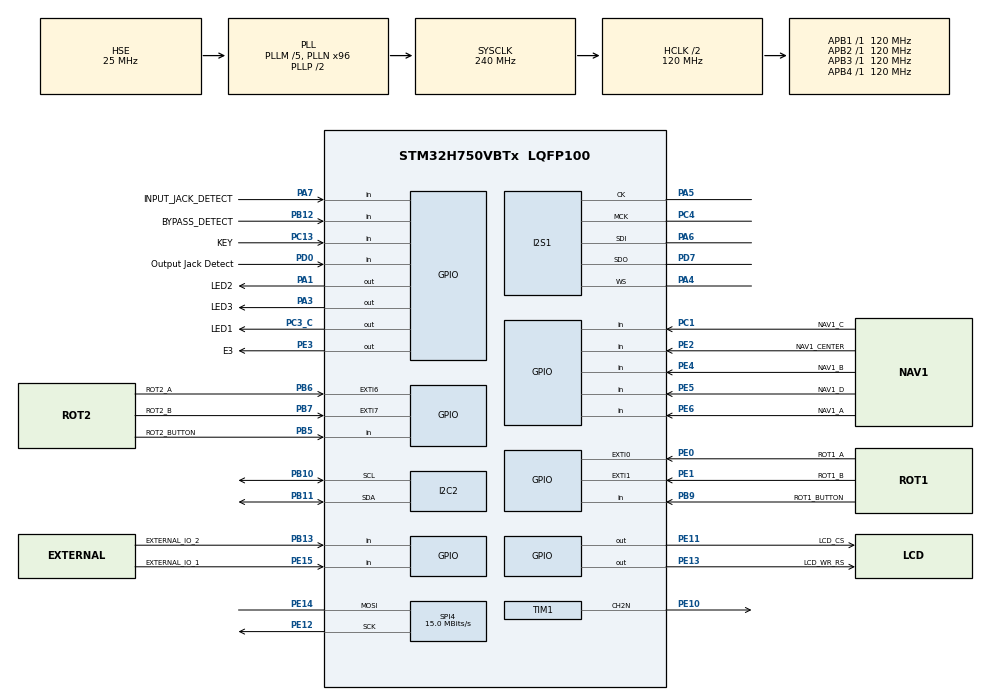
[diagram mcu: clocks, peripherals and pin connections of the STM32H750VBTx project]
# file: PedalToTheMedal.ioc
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Dma.Request0=SPI1_RX
Dma.Request1=SPI1_TX
Dma.SPI1_RX.0.Direction=DMA_PERIPH_TO_MEMORY
Dma.SPI1_RX.0.EventEnable=DISABLE
Dma.SPI1_RX.0.FIFOMode=DMA_FIFOMODE_DISABLE
Dma.SPI1_RX.0.Instance=DMA1_Stream0
Dma.SPI1_RX.0.MemDataAlignment=DMA_MDATAALIGN_HALFWORD
Dma.SPI1_RX.0.MemInc=DMA_MINC_ENABLE
Dma.SPI1_RX.0.Mode=DMA_CIRCULAR
Dma.SPI1_RX.0.PeriphDataAlignment=DMA_PDATAALIGN_HALFWORD
Dma.SPI1_RX.0.PeriphInc=DMA_PINC_DISABLE
Dma.SPI1_RX.0.Polarity=HAL_DMAMUX_REQ_GEN_RISING
Dma.SPI1_RX.0.Priority=DMA_PRIORITY_HIGH
Dma.SPI1_RX.0.RequestNumber=1
Dma.SPI1_RX.0.SignalID=NONE
Dma.SPI1_RX.0.SyncEnable=DISABLE
Dma.SPI1_RX.0.SyncPolarity=HAL_DMAMUX_SYNC_NO_EVENT
Dma.SPI1_RX.0.SyncRequestNumber=1
Dma.SPI1_RX.0.SyncSignalID=NONE
Dma.SPI1_TX.1.Direction=DMA_MEMORY_TO_PERIPH
Dma.SPI1_TX.1.EventEnable=DISABLE
Dma.SPI1_TX.1.FIFOMode=DMA_FIFOMODE_DISABLE
Dma.SPI1_TX.1.Instance=DMA1_Stream1
Dma.SPI1_TX.1.MemDataAlignment=DMA_MDATAALIGN_HALFWORD
Dma.SPI1_TX.1.MemInc=DMA_MINC_ENABLE
Dma.SPI1_TX.1.Mode=DMA_CIRCULAR
Dma.SPI1_TX.1.PeriphDataAlignment=DMA_PDATAALIGN_HALFWORD
Dma.SPI1_TX.1.PeriphInc=DMA_PINC_DISABLE
Dma.SPI1_TX.1.Polarity=HAL_DMAMUX_REQ_GEN_RISING
Dma.SPI1_TX.1.Priority=DMA_PRIORITY_HIGH
Dma.SPI1_TX.1.RequestNumber=1
Dma.SPI1_TX.1.SignalID=NONE
Dma.SPI1_TX.1.SyncEnable=DISABLE
Dma.SPI1_TX.1.SyncPolarity=HAL_DMAMUX_SYNC_NO_EVENT
Dma.SPI1_TX.1.SyncRequestNumber=1
Dma.SPI1_TX.1.SyncSignalID=NONE
I2C2.Timing=0x307075B1
I2S1.AudioFreq=I2S_AUDIOFREQ_44K
I2S1.ErrorAudioFreq=5.68 %
I2S1.Instance=SPI$Index
I2S1.RealAudioFreq=46.502 KHz
Mcu.Family=STM32H7
Mcu.Name=STM32H750VBTx
Mcu.Package=LQFP100
NVIC.DMA1_Stream0_IRQn=true\:0\:0\:false\:false\:true\:false\:true
NVIC.DMA1_Stream1_IRQn=true\:0\:0\:false\:false\:true\:false\:true
NVIC.EXTI0_IRQn=true\:0\:0\:false\:false\:true\:true\:true
NVIC.EXTI1_IRQn=true\:0\:0\:false\:false\:true\:true\:true
NVIC.EXTI9_5_IRQn=true\:0\:0\:false\:false\:true\:true\:true
NVIC.PriorityGroup=NVIC_PRIORITYGROUP_4
NVIC.SPI1_IRQn=true\:0\:0\:false\:false\:true\:true\:true
PA1.GPIO_Label=LED2
PA1.Signal=GPIO_Output
PA13\ (JTMS/SWDIO).Mode=Serial_Wire
PA13\ (JTMS/SWDIO).Signal=DEBUG_JTMS-SWDIO
PA14\ (JTCK/SWCLK).Mode=Serial_Wire
PA14\ (JTCK/SWCLK).Signal=DEBUG_JTCK-SWCLK
PA3.GPIO_Label=LED3
PA3.Signal=GPIO_Output
PA4.Mode=Full_Duplex_Master
PA4.Signal=I2S1_WS
PA5.Mode=Full_Duplex_Master
PA5.Signal=I2S1_CK
PA6.Mode=Full_Duplex_Master
PA6.Signal=I2S1_SDI
PA7.GPIO_Label=INPUT_JACK_DETECT
PA7.Signal=GPIO_Input
PB10.Mode=I2C
PB10.Signal=I2C2_SCL
PB11.Mode=I2C
PB11.Signal=I2C2_SDA
PB12.GPIO_Label=BYPASS_DETECT
PB12.GPIO_PuPd=GPIO_PULLDOWN
PB12.Signal=GPIO_Input
PB13.GPIO_Label=EXTERNAL_IO_2
PB13.GPIO_PuPd=GPIO_PULLUP
PB13.Signal=GPIO_Input
PB5.GPIO_Label=ROT2_BUTTON
PB5.Signal=GPIO_Input
PB6.GPIO_Label=ROT2_A
PB6.GPIO_ModeDefaultEXTI=GPIO_MODE_IT_FALLING
PB6.GPIO_PuPd=GPIO_PULLUP
PB6.Signal=GPXTI6
PB7.GPIO_Label=ROT2_B
PB7.GPIO_ModeDefaultEXTI=GPIO_MODE_IT_FALLING
PB7.GPIO_PuPd=GPIO_PULLUP
PB7.Signal=GPXTI7
PB9.GPIO_Label=ROT1_BUTTON
PB9.Signal=GPIO_Input
PC1.GPIO_Label=NAV1_C
PC1.GPIO_PuPd=GPIO_PULLUP
PC1.Signal=GPIO_Input
PC13.GPIO_Label=KEY
PC13.GPIO_PuPd=GPIO_PULLDOWN
PC13.Signal=GPIO_Input
PC14-OSC32_IN\ (OSC32_IN).Mode=LSE-External-Oscillator
PC14-OSC32_IN\ (OSC32_IN).Signal=RCC_OSC32_IN
PC15-OSC32_OUT\ (OSC32_OUT).Mode=LSE-External-Oscillator
PC15-OSC32_OUT\ (OSC32_OUT).Signal=RCC_OSC32_OUT
PC3_C.GPIO_Label=LED1
PC3_C.Signal=GPIO_Output
PC4.Mode=Master_Clock_Activated
PC4.Signal=I2S1_MCK
PD0.GPIO_Label=Output Jack Detect
PD0.GPIO_PuPd=GPIO_PULLUP
PD0.Signal=GPIO_Input
PD7.Mode=Full_Duplex_Master
PD7.Signal=I2S1_SDO
PE0.GPIO_Label=ROT1_A
PE0.GPIO_ModeDefaultEXTI=GPIO_MODE_IT_FALLING
PE0.GPIO_PuPd=GPIO_PULLUP
PE0.Signal=GPXTI0
PE1.GPIO_Label=ROT1_B
PE1.GPIO_ModeDefaultEXTI=GPIO_MODE_IT_FALLING
PE1.GPIO_PuPd=GPIO_PULLUP
PE1.Signal=GPXTI1
PE10.Mode=PWM Generation2 CH2N
PE10.Signal=TIM1_CH2N
PE11.GPIO_Label=LCD_CS
PE11.GPIO_Speed=GPIO_SPEED_FREQ_VERY_HIGH
PE11.PinState=GPIO_PIN_SET
PE11.Signal=GPIO_Output
PE12.GPIO_Speed=GPIO_SPEED_FREQ_HIGH
PE12.Mode=Simplex_Bidirectional_Master
PE12.Signal=SPI4_SCK
PE13.GPIO_Label=LCD_WR_RS
PE13.GPIO_Speed=GPIO_SPEED_FREQ_VERY_HIGH
PE13.PinState=GPIO_PIN_SET
PE13.Signal=GPIO_Output
PE14.GPIO_Speed=GPIO_SPEED_FREQ_HIGH
PE14.Mode=Simplex_Bidirectional_Master
PE14.Signal=SPI4_MOSI
PE15.GPIO_Label=EXTERNAL_IO_1
PE15.GPIO_PuPd=GPIO_PULLUP
PE15.Signal=GPIO_Input
PE2.GPIO_Label=NAV1_CENTER
PE2.Signal=GPIO_Input
PE3.GPIO_Label=E3
PE3.PinState=GPIO_PIN_RESET
PE3.Signal=GPIO_Output
PE4.GPIO_Label=NAV1_B
PE4.GPIO_PuPd=GPIO_PULLUP
PE4.Signal=GPIO_Input
PE5.GPIO_Label=NAV1_D
PE5.GPIO_PuPd=GPIO_PULLUP
PE5.Signal=GPIO_Input
PE6.GPIO_Label=NAV1_A
PE6.GPIO_PuPd=GPIO_PULLUP
PE6.Signal=GPIO_Input
PH0-OSC_IN\ (PH0).Mode=HSE-External-Oscillator
PH0-OSC_IN\ (PH0).Signal=RCC_OSC_IN
PH1-OSC_OUT\ (PH1).Mode=HSE-External-Oscillator
PH1-OSC_OUT\ (PH1).Signal=RCC_OSC_OUT
ProjectManager.HeapSize=0x200
ProjectManager.StackSize=0x400
ProjectManager.TargetToolchain=STM32CubeIDE
RCC.ADCFreq_Value=83333333.33333333
RCC.APB1Freq_Value=120000000
RCC.APB2Freq_Value=120000000
RCC.APB3Freq_Value=120000000
RCC.APB4Freq_Value=120000000
RCC.CortexFreq_Value=240000000
RCC.DIVM1=5
RCC.DIVM2=6
RCC.DIVN1=96
RCC.DIVN2=40
RCC.DIVQ2=1
RCC.HCLKFreq_Value=120000000
RCC.HPRE=RCC_HCLK_DIV2
RCC.HSE_VALUE=25000000
RCC.PLL2FRACN=0
RCC.PLL3FRACN=0
RCC.PLLFRACN=0
RCC.PLLSourceVirtual=RCC_PLLSOURCE_HSE
RCC.PWR_Regulator_Voltage_Scale=PWR_REGULATOR_VOLTAGE_SCALE0
RCC.RTCClockSelection=RCC_RTCCLKSOURCE_LSE
RCC.SPI123CLockSelection=RCC_SPI123CLKSOURCE_PLL2
RCC.SYSCLKFreq_VALUE=240000000
RCC.SYSCLKSource=RCC_SYSCLKSOURCE_PLLCLK
RCC.USBFreq_Value=240000000
RTC.Hours=12
RTC.Month=RTC_MONTH_JUNE
RTC.Year=20
SPI4.BaudRatePrescaler=SPI_BAUDRATEPRESCALER_8
SPI4.CalculateBaudRate=15.0 MBits/s
SPI4.DataSize=SPI_DATASIZE_8BIT
SPI4.Direction=SPI_DIRECTION_1LINE
SPI4.Mode=SPI_MODE_MASTER
SPI4.VirtualType=VM_MASTER
TIM1.Channel-PWM\ Generation2\ CH2N=TIM_CHANNEL_2
TIM1.OCNPolarity_2=TIM_OCNPOLARITY_LOW
TIM1.Period=1000-1
TIM1.Prescaler=12-1
VP_RTC_VS_RTC_Activate.Mode=RTC_Enabled
VP_RTC_VS_RTC_Calendar.Mode=RTC_Calendar
board=custom

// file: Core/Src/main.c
/* USER CODE BEGIN Header */
/**
  ******************************************************************************
  * @file           : main.c
  * @brief          : Main program body
  ******************************************************************************
  * @attention
  *
  * <h2><center>&copy; Copyright (c) 2020 STMicroelectronics.
  * All rights reserved.</center></h2>
  *
  * This software component is licensed by ST under BSD 3-Clause license,
  * the "License"; You may not use this file except in compliance with the
  * License. You may obtain a copy of the License at:
  *                        opensource.org/licenses/BSD-3-Clause
  *
  ******************************************************************************
  */
/* USER CODE END Header */
#include "main.h"
#include "dma.h"
#include "i2c.h"
#include "i2s.h"
#include "rtc.h"
#include "spi.h"
#include "tim.h"
#include "gpio.h"
#include "navswitch.h"

/* USER CODE BEGIN Includes */
#include "lcd.h"
#include "codec.h"
#include "applyEffects.h"
#include "stm32h7xx_it.h"

/* USER CODE END Includes */

/* USER CODE BEGIN PV */

int16_t inBuf[4];
int16_t outBuf[4];

effects_t curEffect;

volatile int lasta1;
volatile int lastb1;
volatile int lasta2;
volatile int lastb2;
volatile int position1 = 0;
volatile int position2 = 0;
effects_t effect_selection = 0;
volatile int param_select = 0;
//float secdelay;
//float cleanGain;
//float delayGain;
//float usFactor;
//int bitCount;
//float tremolo_rate;
//float tremolo_depth;

/* USER CODE END PV */

void SystemClock_Config(void);

/* USER CODE BEGIN 0 */
static void MPU_Config(void)
{
  MPU_Region_InitTypeDef MPU_InitStruct = {0};

  /* Disables the MPU */
  HAL_MPU_Disable();

	/* Configure the MPU attributes for the QSPI 256MB without instruction access */
  MPU_InitStruct.Enable           = MPU_REGION_ENABLE;
  MPU_InitStruct.Number           = MPU_REGION_NUMBER0;
  MPU_InitStruct.BaseAddress      = QSPI_BASE;
  MPU_InitStruct.Size             = MPU_REGION_SIZE_256MB;
  MPU_InitStruct.AccessPermission = MPU_REGION_NO_ACCESS;
  MPU_InitStruct.IsBufferable     = MPU_ACCESS_NOT_BUFFERABLE;
  MPU_InitStruct.IsCacheable      = MPU_ACCESS_NOT_CACHEABLE;
  MPU_InitStruct.IsShareable      = MPU_ACCESS_NOT_SHAREABLE;
  MPU_InitStruct.DisableExec      = MPU_INSTRUCTION_ACCESS_DISABLE;
  MPU_InitStruct.TypeExtField     = MPU_TEX_LEVEL1;
  MPU_InitStruct.SubRegionDisable = 0x00;
  HAL_MPU_ConfigRegion(&MPU_InitStruct);

  /* Configure the MPU attributes for the QSPI 8MB (QSPI Flash Size) to Cacheable WT */
  MPU_InitStruct.Enable           = MPU_REGION_ENABLE;
  MPU_InitStruct.Number           = MPU_REGION_NUMBER1;
  MPU_InitStruct.BaseAddress      = QSPI_BASE;
  MPU_InitStruct.Size             = MPU_REGION_SIZE_8MB;
  MPU_InitStruct.AccessPermission = MPU_REGION_PRIV_RO;
  MPU_InitStruct.IsBufferable     = MPU_ACCESS_BUFFERABLE;
  MPU_InitStruct.IsCacheable      = MPU_ACCESS_CACHEABLE;
  MPU_InitStruct.IsShareable      = MPU_ACCESS_NOT_SHAREABLE;
  MPU_InitStruct.DisableExec      = MPU_INSTRUCTION_ACCESS_ENABLE;
  MPU_InitStruct.TypeExtField     = MPU_TEX_LEVEL1;
  MPU_InitStruct.SubRegionDisable = 0x00;
  HAL_MPU_ConfigRegion(&MPU_InitStruct);

  /* Enables the MPU */
  HAL_MPU_Enable(MPU_PRIVILEGED_DEFAULT);
}

static void CPU_CACHE_Enable(void)
{
  /* Enable I-Cache */
  SCB_EnableICache();

  /* Enable D-Cache */
  SCB_EnableDCache();
}

static void LED_Blink(uint32_t Hdelay,uint32_t Ldelay)
{
	HAL_GPIO_WritePin(E3_GPIO_Port,E3_Pin,GPIO_PIN_SET);
	HAL_Delay(Hdelay - 1);
	HAL_GPIO_WritePin(E3_GPIO_Port,E3_Pin,GPIO_PIN_RESET);
	HAL_Delay(Ldelay-1);
}

/**
  * @brief  Get the current time and date.
  * @param
  * @retval None
  */
static void RTC_CalendarShow(RTC_DateTypeDef *sdatestructureget,RTC_TimeTypeDef *stimestructureget)
{
  /* ����ͬʱ��ȡʱ������� ��Ȼ�ᵼ���´�RTC���ܶ�ȡ */
  /* Both time and date must be obtained or RTC cannot be read next time */
  /* Get the RTC current Time */
  HAL_RTC_GetTime(&hrtc, stimestructureget, RTC_FORMAT_BIN);
  /* Get the RTC current Date */
  HAL_RTC_GetDate(&hrtc, sdatestructureget, RTC_FORMAT_BIN);
}

/* USER CODE END 0 */

int main(void)
{
  /* USER CODE BEGIN 1 */

  #ifdef W25Qxx
    SCB->VTOR = QSPI_BASE;
  #endif
  MPU_Config();

  //DISABLED CACHES.  D CACHE CAUSES ISSUES WITH DMA
  //D cache can potentially be reenabled, involves segmenting memory
  //I cache should be able to be reenabled without any issues, TODO
  //CPU_CACHE_Enable();

  /* USER CODE END 1 */

  /* MCU Configuration--------------------------------------------------------*/

  /* Reset of all peripherals, Initializes the Flash interface and the Systick. */
  HAL_Init();

  /* Configure the system clock */
  SystemClock_Config();

  /* Initialize all configured peripherals */
  MX_GPIO_Init();
  MX_RTC_Init();
  MX_SPI4_Init();
  MX_TIM1_Init();
  MX_I2C2_Init();
  MX_DMA_Init();
  MX_I2S1_Init();
  /* USER CODE BEGIN 2 */
//	HAL_TIMEx_PWMN_Start(&htim1,TIM_CHANNEL_2);
//	__HAL_TIM_SetCompare(&htim1,TIM_CHANNEL_2,10);
	LCD_Test();
  /* USER CODE END 2 */

  /* Infinite loop */
  /* USER CODE BEGIN WHILE */
	uint8_t text[20];
	RTC_DateTypeDef sdatestructureget;
	RTC_TimeTypeDef stimestructureget;

	//initialize the input and output buffers to 0s
	outBuf[0] = 0;
	outBuf[1] = 0;
	outBuf[2] = 0;
	outBuf[3] = 0;
	inBuf[0] = 0;
	inBuf[1] = 0;
	inBuf[2] = 0;
	inBuf[3] = 0;

	//Initialize the incoming sample buffer to 0s
	for(int i = 0; i < SIZE_OF_BUFFER; i++)
	{
		samples[i] = 0;
	}
	currentInd = 0;

	//setup delay effect
	cleanGain = 1.0;
	delayGain = 0.5;

	usFactor = 2.0;
	usSum = 0.0;
	curEffect = UNDERSAMPLING;

	bitCount = 8;
//	curEffect = BITCRUSHER;

//	curEffect = TREMOLO;
	tremoloDepth = 0.5;
	tremoloRate = 5.0;
	t = 0;

	chorusVoices = 1;
	chorusRate = 1.0;
	chorusTime = 0.1;
	chorusSampleDepth = (chorusTime)*44100;
	voiceGain = 1;
	chorus_t = 0.0;

  getDeviceID();
  codecInit();

  HAL_I2SEx_TransmitReceive_DMA(&hi2s1, (uint16_t *)outBuf, (uint16_t *)inBuf, 4);

  while (1)
  {
    /* USER CODE END WHILE */

    /* USER CODE BEGIN 3 */
		//RTC_CalendarShow(&sdatestructureget,&stimestructureget);
		//sprintf((char *)&text,"CUSTOM TEXT ON LCD");
		//LCD_ShowString(4, 58, 160, 16, 16, text);
		/*if (stimestructureget.Seconds % 2 == 1)
			sprintf((char *)&text,"Time: %02d:%02d", stimestructureget.Hours, stimestructureget.Minutes);
		else
			sprintf((char *)&text,"Time: %02d %02d", stimestructureget.Hours, stimestructureget.Minutes);
		LCD_ShowString(4, 58, 160, 16, 16, text);
		*/

		//sprintf((char *)&text,"Parker: %d ms",HAL_GetTick());
		//LCD_ShowString(4, 74, 160, 16, 16,text);

		LED_Blink(3,100);
//		secdelay = position1 * 0.1;
//		sampleDelay = (int)(secdelay*44100);

		checkGPIO(&curEffect, position1, position2);

//		if(position1 != 0)
//		{
//			updateEffect(curEffect, secdelay);
//		}
//		HAL_Delay(100);

  }
  /* USER CODE END 3 */
}

void SystemClock_Config(void)
{
  RCC_OscInitTypeDef RCC_OscInitStruct = {0};
  RCC_ClkInitTypeDef RCC_ClkInitStruct = {0};

  /** Supply configuration update enable
  */
  HAL_PWREx_ConfigSupply(PWR_LDO_SUPPLY);
  /** Configure the main internal regulator output voltage
  */
  __HAL_PWR_VOLTAGESCALING_CONFIG(PWR_REGULATOR_VOLTAGE_SCALE0);

  while(!__HAL_PWR_GET_FLAG(PWR_FLAG_VOSRDY)) {}
  /** Configure LSE Drive Capability
  */
  HAL_PWR_EnableBkUpAccess();
  __HAL_RCC_LSEDRIVE_CONFIG(RCC_LSEDRIVE_LOW);
  /** Macro to configure the PLL clock source
  */
  __HAL_RCC_PLL_PLLSOURCE_CONFIG(RCC_PLLSOURCE_HSE);
  /** Initializes the RCC Oscillators according to the specified parameters
  * in the RCC_OscInitTypeDef structure.
  */
  RCC_OscInitStruct.OscillatorType = RCC_OSCILLATORTYPE_HSE|RCC_OSCILLATORTYPE_LSE;
  RCC_OscInitStruct.HSEState = RCC_HSE_ON;
  RCC_OscInitStruct.LSEState = RCC_LSE_ON;
  RCC_OscInitStruct.PLL.PLLState = RCC_PLL_ON;
  RCC_OscInitStruct.PLL.PLLSource = RCC_PLLSOURCE_HSE;
  RCC_OscInitStruct.PLL.PLLM = 5;
  RCC_OscInitStruct.PLL.PLLN = 96;
  RCC_OscInitStruct.PLL.PLLP = 2;
  RCC_OscInitStruct.PLL.PLLQ = 2;
  RCC_OscInitStruct.PLL.PLLR = 2;
  RCC_OscInitStruct.PLL.PLLRGE = RCC_PLL1VCIRANGE_2;
  RCC_OscInitStruct.PLL.PLLVCOSEL = RCC_PLL1VCOWIDE;
  RCC_OscInitStruct.PLL.PLLFRACN = 0;
  if (HAL_RCC_OscConfig(&RCC_OscInitStruct) != HAL_OK)
  {
    Error_Handler();
  }
  /** Initializes the CPU, AHB and APB buses clocks
  */
  RCC_ClkInitStruct.ClockType = RCC_CLOCKTYPE_HCLK|RCC_CLOCKTYPE_SYSCLK
                              |RCC_CLOCKTYPE_PCLK1|RCC_CLOCKTYPE_PCLK2
                              |RCC_CLOCKTYPE_D3PCLK1|RCC_CLOCKTYPE_D1PCLK1;
  RCC_ClkInitStruct.SYSCLKSource = RCC_SYSCLKSOURCE_PLLCLK;
  RCC_ClkInitStruct.SYSCLKDivider = RCC_SYSCLK_DIV1;
  RCC_ClkInitStruct.AHBCLKDivider = RCC_HCLK_DIV2;
  RCC_ClkInitStruct.APB3CLKDivider = RCC_APB3_DIV1;
  RCC_ClkInitStruct.APB1CLKDivider = RCC_APB1_DIV1;
  RCC_ClkInitStruct.APB2CLKDivider = RCC_APB2_DIV1;
  RCC_ClkInitStruct.APB4CLKDivider = RCC_APB4_DIV1;

  if (HAL_RCC_ClockConfig(&RCC_ClkInitStruct, FLASH_LATENCY_1) != HAL_OK)
  {
    Error_Handler();
  }
}

/* USER CODE BEGIN 4 */

//on completed data transfer, this interrupt is called
void HAL_I2SEx_TxRxHalfCpltCallback(I2S_HandleTypeDef *hi2s)
{
	//save the new input data to the buffer.  Currently only one channel
	samples[currentInd] = inBuf[0];
	outBuf[0] = applyEffect(curEffect);
	//outBuf[0] = samples[currentInd];
	//for other channel, just copy input to output //L-CHANNEL COPIED TO R-CHANNEL
	outBuf[1] = inBuf[0];

	//calculate the new output sample using the apply effect function
	//outBuf[0] = applyEffect(curEffect);

	//increment currentIndex.  %SIZE_OF_BUFFER for wraparound
	currentInd = (currentInd+1)%SIZE_OF_BUFFER;

}

void HAL_I2SEx_TxRxCpltCallback(I2S_HandleTypeDef *hi2s)
{
	//save the new input data to the buffer.  Currently only one channel
	samples[currentInd] = inBuf[2];
	outBuf[2] = applyEffect(curEffect);
	//outBuf[2] = samples[currentInd];
	//for other channel, just copy input to output
	outBuf[3] = inBuf[2];

	//increment currentIndex.  %SIZE_OF_BUFFER for wraparound
	currentInd = (currentInd+1)%SIZE_OF_BUFFER;
}
/* USER CODE END 4 */

void Error_Handler(void)
{
  /* USER CODE BEGIN Error_Handler_Debug */
  /* User can add his own implementation to report the HAL error return state */
  LED_Blink(500,500);
  /* USER CODE END Error_Handler_Debug */
}
